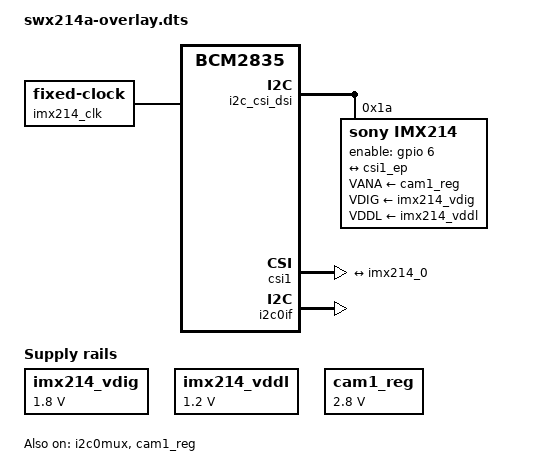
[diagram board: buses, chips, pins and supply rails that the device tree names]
// SPDX-License-Identifier: GPL-2.0-only
// Definitions for SMX214 camera module on VC I2C bus
/dts-v1/;
/plugin/;

#include <dt-bindings/gpio/gpio.h>

/{
	compatible = "brcm,bcm2835";

	fragment@0 {
		target = <&i2c_csi_dsi>;
		__overlay__ {
			#address-cells = <1>;
			#size-cells = <0>;
			status = "okay";

			imx214: imx214@1a {
				compatible = "sony,imx214";
				reg = <0x1a>;
				status = "okay";

				enable-gpios = <&gpio 6 GPIO_ACTIVE_HIGH>;
				clocks = <&imx214_clk>;
				clock-names = "xclk";

				VANA-supply = <&cam1_reg>;	/* 2.8v */
				VDIG-supply = <&imx214_vdig>;	/* 1.8v */
				VDDL-supply = <&imx214_vddl>;	/* 1.2v */

				rotation = <180>;

				port {
					imx214_0: endpoint {
						remote-endpoint = <&csi1_ep>;
						data-lanes = <1 2 3 4>;
						link-frequencies =
							/bits/ 64 <480000000>;
					};
				};
			};
		};
	};

	fragment@1 {
		target = <&csi1>;
		__overlay__ {
			status = "okay";

			port {
				csi1_ep: endpoint {
					remote-endpoint = <&imx214_0>;
					data-lanes = <1 2 3 4>;
				};
			};
		};
	};

	fragment@2 {
		target = <&i2c0if>;
		__overlay__ {
			status = "okay";
		};
	};

	fragment@3 {
		target-path="/";
		__overlay__ {
			imx214_vdig: fixedregulator@1 {
				compatible = "regulator-fixed";
				regulator-name = "imx214_vdig";
				regulator-min-microvolt = <1800000>;
				regulator-max-microvolt = <1800000>;
			};
			imx214_vddl: fixedregulator@2 {
				compatible = "regulator-fixed";
				regulator-name = "imx214_vddl";
				regulator-min-microvolt = <1200000>;
				regulator-max-microvolt = <1200000>;
			};

			imx214_clk: camera-clk {
				compatible = "fixed-clock";
				#clock-cells = <0>;
				clock-frequency = <24000000>;
			};
		};
	};

	fragment@4 {
		target = <&i2c0mux>;
		__overlay__ {
			status = "okay";
		};
	};

	fragment@5 {
		target = <&cam1_reg>;
		__overlay__ {
			status = "okay";
			regulator-name = "imx214vana";
			regulator-min-microvolt = <2800000>;
			regulator-max-microvolt = <2800000>;
		};
	};

	__overrides__ {
		rotation = <&imx214>,"rotation:0";
	};
};
